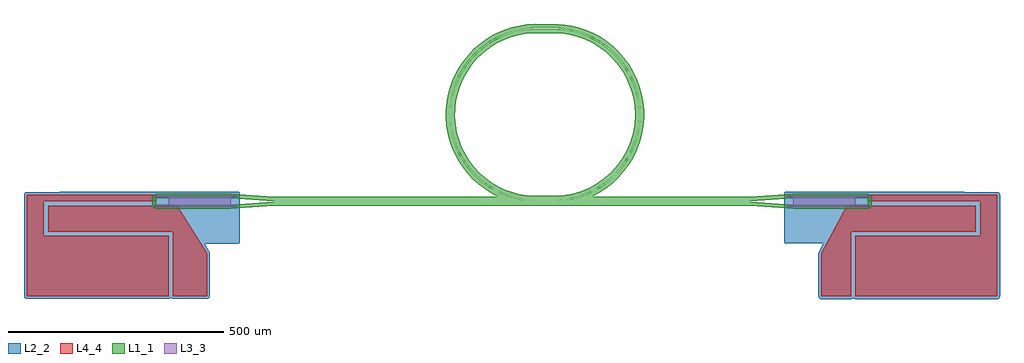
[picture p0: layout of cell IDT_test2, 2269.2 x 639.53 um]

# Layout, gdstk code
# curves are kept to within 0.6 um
import gdstk
lib = gdstk.Library(unit=1e-6, precision=1e-09)
def P(c, l, *ps):  # polygons
    for p in ps: c.add(gdstk.Polygon(p, *l))
L1_1 = (1, 1)
L2_2 = (2, 2)
L3_3 = (3, 3)
L4_4 = (4, 4)

idt_test2 = lib.new_cell('IDT_test2')
P(idt_test2, L1_1, [(-1552.58,-12.702),(-1557.944,-10.48),(-1561.169,-5.653),(-1561.552,13.23),(-1558.671,19.321),(-1555.427,21.489),(-1551.6,22.25),(-1378.8,22.25),(-1278.455,15.35),(-756.903,15.35),(-773.001,23.663),(-788.415,33.393),(-802.834,44.34),(-816.349,56.572),(-828.755,69.927),(-838.509,82.291),(-848.544,97.36),(-857.302,113.346),(-864.645,130.029),(-870.518,147.285),(-874.374,162.554),(-877.399,180.53),(-878.857,198.699),(-878.745,216.803),(-877.062,234.953),(-874.349,250.466),(-869.771,268.11),(-863.731,285.177),(-857.302,299.554),(-848.544,315.54),(-838.436,330.708),(-827.135,344.853),(-814.573,358.061),(-802.834,368.56),(-788.415,379.507),(-773.001,389.237),(-759.049,396.542),(-742.272,403.669),(-725,409.299),(-725,398.898),(-741.137,393.398),(-757.03,386.408),(-770.129,379.342),(-784.698,369.898),(-796.497,360.825),(-809.366,349.17),(-821.179,336.446),(-831.848,322.748),(-841.292,308.179),(-848.358,295.08),(-859.486,267.494),(-864.049,250.742),(-866.795,236.114),(-869,206.45),(-866.795,176.786),(-864.049,162.158),(-859.486,145.406),(-848.358,117.82),(-841.292,104.721),(-831.848,90.152),(-812.853,67.26),(-792.639,48.954),(-776.473,37.451),(-761.454,28.739),(-743.444,20.416),(-725,14.002),(-725,5.35),(-1278.8,5.35),(-1378.8,12.25),(-1551.6,12.25),(-1551.6,-2.75),(-1378.8,-2.75),(-1278.8,4.15),(-725,4.15),(-725,-5.85),(-1278.455,-5.85),(-1378.8,-12.75)],
  [(-707.309,413.424),(-689.266,416.014),(-671.067,417.033),(-618.047,416.795),(-602.48,415.449),(-571.739,409.285),(-554.412,403.625),(-537.639,396.489),(-521.547,387.929),(-506.254,378.009),(-489.997,365.185),(-476.789,352.623),(-464.64,338.869),(-453.803,324.213),(-443.082,306.498),(-435.125,290.098),(-428.577,272.955),(-423.012,253.01),(-419.755,235.076),(-418.061,216.927),(-417.947,198.576),(-419.738,177.947),(-423.012,159.89),(-427.807,142.304),(-435.076,122.915),(-443.023,106.511),(-452.427,90.752),(-464.64,74.031),(-476.789,60.277),(-491.877,46.095),(-506.254,34.891),(-521.653,24.908),(-539.897,15.35),(-171.545,15.35),(-71.2,22.25),(101.6,22.25),(105.427,21.489),(108.671,19.321),(110.839,16.077),(111.6,12.25),(111.6,-2.75),(110.839,-6.577),(107.156,-11.065),(101.6,-12.75),(-71.2,-12.75),(-171.545,-5.85),(-725,-5.85),(-725,4.15),(-171.2,4.15),(-71.2,-2.75),(101.6,-2.75),(101.6,12.25),(-71.2,12.25),(-171.2,5.35),(-725,5.35),(-725,14.002),(-702.962,8.85),(-678.32,6.095),(-623.438,5.911),(-596.284,8.438),(-576.88,12.579),(-557.981,18.616),(-539.77,26.492),(-520.327,37.451),(-500.303,52.075),(-483.947,67.26),(-467.879,86.145),(-454.263,106.867),(-443.308,129.111),(-435.862,150.151),(-430.8,171.888),(-428.045,196.53),(-428.183,218.848),(-431.242,243.454),(-437.314,267.494),(-446.304,290.602),(-458.077,312.424),(-472.452,332.627),(-489.21,350.903),(-506.118,365.471),(-528.817,380.587),(-551.061,391.542),(-574.487,399.669),(-598.736,404.845),(-623.438,406.989),(-678.32,406.805),(-702.962,404.05),(-725,398.898),(-725,409.299)],
  [(-668.4,7.05),(-688.098,8.025),(-707.603,10.942),(-726.725,15.771),(-747.546,23.43),(-765.239,32.144),(-784.002,43.98),(-799.487,56.195),(-813.689,69.879),(-826.469,84.9),(-837.704,101.11),(-847.282,118.35),(-855.11,136.452),(-861.112,155.239),(-865.608,176.963),(-867.556,196.589),(-867.556,216.311),(-865.608,235.937),(-861.73,255.274),(-855.961,274.134),(-848.358,292.331),(-838.994,309.688),(-827.961,326.036),(-813.689,343.021),(-799.487,356.705),(-784.002,368.92),(-765.239,380.756),(-747.546,389.47),(-729.079,396.393),(-710.018,401.458),(-690.551,404.616),(-673.332,405.789),(-648.419,405.85),(-648.419,395.783),(-675.426,395.719),(-694.089,394.1),(-710.219,391.175),(-728.263,386.141),(-745.721,379.348),(-762.423,370.864),(-778.205,360.772),(-792.913,349.17),(-806.402,336.171),(-818.542,321.904),(-829.213,306.507),(-838.311,290.132),(-845.746,272.938),(-851.447,255.093),(-855.357,236.773),(-857.279,220.493),(-857.742,201.765),(-856.353,183.084),(-853.125,164.631),(-848.091,146.587),(-841.298,129.129),(-832.814,112.427),(-824.068,98.562),(-812.649,83.712),(-799.818,70.063),(-787.532,59.21),(-772.404,48.161),(-756.259,38.661),(-741.421,31.692),(-723.8,25.334),(-707.931,21.222),(-691.766,18.497),(-677.767,17.282),(-648.419,17.159),(-648.419,7.05)],
  [(-648.4,7.05),(-648.419,17.159),(-626.057,17.065),(-605.034,18.497),(-584.299,22.256),(-564.111,28.295),(-544.718,36.539),(-526.361,46.887),(-509.268,59.21),(-493.648,73.355),(-479.697,89.148),(-467.587,106.393),(-457.467,124.876),(-449.464,144.369),(-443.675,164.631),(-440.172,185.41),(-439,206.45),(-440.172,227.49),(-443.675,248.269),(-448.709,266.313),(-456.471,285.904),(-466.362,304.511),(-476.841,320.038),(-490.398,336.171),(-505.662,350.699),(-520.512,362.118),(-538.473,373.139),(-555.379,381.208),(-573,387.566),(-591.163,392.153),(-609.69,394.923),(-648.419,395.783),(-648.419,405.85),(-608.702,404.875),(-589.197,401.958),(-570.075,397.129),(-551.524,390.435),(-533.724,381.94),(-516.852,371.729),(-501.07,359.902),(-486.534,346.572),(-473.385,331.873),(-461.754,315.946),(-451.752,298.948),(-443.479,281.045),(-437.014,262.412),(-432.422,243.232),(-429.975,226.148),(-429,206.45),(-429.975,186.752),(-432.422,169.668),(-437.014,150.488),(-443.479,131.855),(-451.752,113.952),(-461.754,96.954),(-473.385,81.027),(-486.534,66.328),(-501.07,52.998),(-516.852,41.171),(-533.724,30.96),(-551.524,22.465),(-570.075,15.771),(-589.197,10.942),(-606.249,8.284),(-623.468,7.111)])
P(idt_test2, L2_2, [(68.6,-219.815),(66.428,-221.792),(63.6,-222.5),(-6.4,-222.5),(-9.228,-221.792),(-11.389,-219.833),(-12.4,-216.5),(-12.371,-115.906),(-1.329,-94.5),(-86.4,-94.5),(-89.228,-93.792),(-91.389,-91.833),(-92.4,-88.5),(-92.4,21.5),(-91.692,24.328),(-89.733,26.489),(-86.4,27.5),(323.6,27.5),(328.063,25.5),(404.188,25.471),(408.589,22.833),(409.6,19.5),(409.6,-216.5),(408.892,-219.328),(406.933,-221.489),(403.6,-222.5),(73.6,-222.5),(70.772,-221.792)],
  [(-1778.063,25.5),(-1773.6,27.5),(-1361.858,27.242),(-1358.611,24.833),(-1357.6,21.5),(-1357.858,-90.242),(-1359.794,-93.138),(-1363.012,-94.471),(-1439.852,-94.5),(-1427.627,-114.934),(-1427.6,-215.5),(-1428.611,-218.833),(-1431.858,-221.242),(-1513.6,-221.5),(-1516.428,-220.792),(-1518.6,-218.815),(-1520.772,-220.792),(-1523.6,-221.5),(-1855.342,-221.242),(-1858.589,-218.833),(-1859.6,-215.5),(-1859.342,21.242),(-1857.406,24.138),(-1854.188,25.471)])
P(idt_test2, L3_3, [(-1498.6,-3),(-1498.6,11.75),(-1498.155,11.75),(-1498.155,-3),(-1496.8,-3),(-1496.8,11.75),(-1496.355,11.75),(-1496.355,-3),(-1495,-3),(-1495,11.75),(-1494.555,11.75),(-1494.555,-3),(-1493.2,-3),(-1493.2,11.75),(-1492.755,11.75),(-1492.755,-3),(-1491.4,-3),(-1491.4,11.75),(-1490.955,11.75),(-1490.955,-3),(-1489.6,-3),(-1489.6,11.75),(-1489.155,11.75),(-1489.155,-3),(-1487.8,-3),(-1487.8,11.75),(-1487.355,11.75),(-1487.355,-3),(-1486,-3),(-1486,11.75),(-1485.555,11.75),(-1485.555,-3),(-1484.2,-3),(-1484.2,11.75),(-1483.755,11.75),(-1483.755,-3),(-1482.4,-3),(-1482.4,11.75),(-1481.955,11.75),(-1481.955,-3),(-1480.6,-3),(-1480.6,11.75),(-1480.155,11.75),(-1480.155,-3),(-1478.8,-3),(-1478.8,11.75),(-1478.355,11.75),(-1478.355,-3),(-1477,-3),(-1477,11.75),(-1476.555,11.75),(-1476.555,-3),(-1475.2,-3),(-1475.2,11.75),(-1474.755,11.75),(-1474.755,-3),(-1473.4,-3),(-1473.4,11.75),(-1472.955,11.75),(-1472.955,-3),(-1471.6,-3),(-1471.6,11.75),(-1471.155,11.75),(-1471.155,-3),(-1469.8,-3),(-1469.8,11.75),(-1469.355,11.75),(-1469.355,-3),(-1468,-3),(-1468,11.75),(-1467.555,11.75),(-1467.555,-3),(-1466.2,-3),(-1466.2,11.75),(-1465.755,11.75),(-1465.755,-3),(-1464.4,-3),(-1464.4,11.75),(-1463.955,11.75),(-1463.955,-3),(-1462.6,-3),(-1462.6,11.75),(-1462.155,11.75),(-1462.155,-3),(-1460.8,-3),(-1460.8,11.75),(-1460.355,11.75),(-1460.355,-3),(-1459,-3),(-1459,11.75),(-1458.555,11.75),(-1458.555,-3),(-1457.2,-3),(-1457.2,11.75),(-1456.755,11.75),(-1456.755,-3),(-1455.4,-3),(-1455.4,11.75),(-1454.955,11.75),(-1454.955,-3),(-1453.6,-3),(-1453.6,11.75),(-1453.155,11.75),(-1453.155,-3),(-1451.8,-3),(-1451.8,11.75),(-1451.355,11.75),(-1451.355,-3),(-1450,-3),(-1450,11.75),(-1449.555,11.75),(-1449.555,-3),(-1448.2,-3),(-1448.2,11.75),(-1447.755,11.75),(-1447.755,-3),(-1446.4,-3),(-1446.4,11.75),(-1445.955,11.75),(-1445.955,-3),(-1444.6,-3),(-1444.6,11.75),(-1444.155,11.75),(-1444.155,-3),(-1442.8,-3),(-1442.8,11.75),(-1442.355,11.75),(-1442.355,-3),(-1441,-3),(-1441,11.75),(-1440.555,11.75),(-1440.555,-3),(-1439.2,-3),(-1439.2,11.75),(-1438.755,11.75),(-1438.755,-3),(-1437.4,-3),(-1437.4,11.75),(-1436.955,11.75),(-1436.955,-3),(-1435.6,-3),(-1435.6,11.75),(-1435.155,11.75),(-1435.155,-3),(-1433.8,-3),(-1433.8,11.75),(-1433.355,11.75),(-1433.355,-3),(-1432,-3),(-1432,11.75),(-1431.555,11.75),(-1431.555,-3),(-1430.2,-3),(-1430.2,11.75),(-1429.755,11.75),(-1429.755,-3),(-1428.4,-3),(-1428.4,11.75),(-1427.955,11.75),(-1427.955,-3),(-1426.6,-3),(-1426.6,11.75),(-1426.155,11.75),(-1426.155,-3),(-1424.8,-3),(-1424.8,11.75),(-1424.355,11.75),(-1424.355,-3),(-1423,-3),(-1423,11.75),(-1422.555,11.75),(-1422.555,-3),(-1421.2,-3),(-1421.2,11.75),(-1420.755,11.75),(-1420.755,-3),(-1419.4,-3),(-1419.4,11.75),(-1418.955,11.75),(-1418.955,-3),(-1417.6,-3),(-1417.6,11.75),(-1417.155,11.75),(-1417.155,-3),(-1415.8,-3),(-1415.8,11.75),(-1415.355,11.75),(-1415.355,-3),(-1414,-3),(-1414,11.75),(-1413.555,11.75),(-1413.555,-3),(-1412.2,-3),(-1412.2,11.75),(-1411.755,11.75),(-1411.755,-3),(-1410.4,-3),(-1410.4,11.75),(-1409.955,11.75),(-1409.955,-3),(-1408.6,-3),(-1408.6,11.75),(-1408.155,11.75),(-1408.155,-3),(-1406.8,-3),(-1406.8,11.75),(-1406.355,11.75),(-1406.355,-3),(-1405,-3),(-1405,11.75),(-1404.555,11.75),(-1404.555,-3),(-1403.2,-3),(-1403.2,11.75),(-1402.755,11.75),(-1402.755,-3),(-1401.4,-3),(-1401.4,11.75),(-1400.955,11.75),(-1400.955,-3),(-1399.6,-3),(-1399.6,11.75),(-1399.155,11.75),(-1399.155,-3),(-1397.8,-3),(-1397.8,11.75),(-1397.355,11.75),(-1397.355,-3),(-1396,-3),(-1396,11.75),(-1395.555,11.75),(-1395.555,-3),(-1394.2,-3),(-1394.2,11.75),(-1393.755,11.75),(-1393.755,-3),(-1392.4,-3),(-1392.4,11.75),(-1391.955,11.75),(-1391.955,-3),(-1390.6,-3),(-1390.6,11.75),(-1390.155,11.75),(-1390.155,-3),(-1388.8,-3),(-1388.8,11.75),(-1388.355,11.75),(-1388.355,-3),(-1387,-3),(-1387,11.75),(-1386.555,11.75),(-1386.555,-3),(-1385.2,-3),(-1385.2,11.75),(-1384.755,11.75),(-1384.755,-3),(-1383.4,-3),(-1383.4,11.75),(-1382.955,11.75),(-1382.955,-3),(-1381.6,-3),(-1381.6,11.75),(-1381.155,11.75),(-1381.155,-3),(-1379.8,-3),(-1379.8,11.75),(-1379.355,11.75),(-1379.355,-3),(-1363.6,-3),(-1363.6,-8),(-1555.6,-8),(-1555.6,-3),(-1522,-3),(-1522,11.75),(-1521.555,11.75),(-1521.555,-3),(-1520.2,-3),(-1520.2,11.75),(-1519.755,11.75),(-1519.755,-3),(-1518.4,-3),(-1518.4,11.75),(-1517.955,11.75),(-1517.955,-3),(-1516.6,-3),(-1516.6,11.75),(-1516.155,11.75),(-1516.155,-3),(-1514.8,-3),(-1514.8,11.75),(-1514.355,11.75),(-1514.355,-3),(-1513,-3),(-1513,11.75),(-1512.555,11.75),(-1512.555,-3),(-1511.2,-3),(-1511.2,11.75),(-1510.755,11.75),(-1510.755,-3),(-1509.4,-3),(-1509.4,11.75),(-1508.955,11.75),(-1508.955,-3),(-1507.6,-3),(-1507.6,11.75),(-1507.155,11.75),(-1507.155,-3),(-1505.8,-3),(-1505.8,11.75),(-1505.355,11.75),(-1505.355,-3),(-1504,-3),(-1504,11.75),(-1503.555,11.75),(-1503.555,-3),(-1502.2,-3),(-1502.2,11.75),(-1501.755,11.75),(-1501.755,-3),(-1500.4,-3),(-1500.4,11.75),(-1499.955,11.75),(-1499.955,-3),(-1498.6,-3)],
  [(-68.845,11.75),(-68.4,11.75),(-68.4,-3),(-67.045,-3),(-67.045,11.75),(-66.6,11.75),(-66.6,-3),(-65.245,-3),(-65.245,11.75),(-64.8,11.75),(-64.8,-3),(-63.445,-3),(-63.445,11.75),(-63,11.75),(-63,-3),(-61.645,-3),(-61.645,11.75),(-61.2,11.75),(-61.2,-3),(-59.845,-3),(-59.845,11.75),(-59.4,11.75),(-59.4,-3),(-58.045,-3),(-58.045,11.75),(-57.6,11.75),(-57.6,-3),(-56.245,-3),(-56.245,11.75),(-55.8,11.75),(-55.8,-3),(-54.445,-3),(-54.445,11.75),(-54,11.75),(-54,-3),(-52.645,-3),(-52.645,11.75),(-52.2,11.75),(-52.2,-3),(-50.845,-3),(-50.845,11.75),(-50.4,11.75),(-50.4,-3),(-49.045,-3),(-49.045,11.75),(-48.6,11.75),(-48.6,-3),(-47.245,-3),(-47.245,11.75),(-46.8,11.75),(-46.8,-3),(-45.445,-3),(-45.445,11.75),(-45,11.75),(-45,-3),(-43.645,-3),(-43.645,11.75),(-43.2,11.75),(-43.2,-3),(-41.845,-3),(-41.845,11.75),(-41.4,11.75),(-41.4,-3),(-40.045,-3),(-40.045,11.75),(-39.6,11.75),(-39.6,-3),(-38.245,-3),(-38.245,11.75),(-37.8,11.75),(-37.8,-3),(-36.445,-3),(-36.445,11.75),(-36,11.75),(-36,-3),(-34.645,-3),(-34.645,11.75),(-34.2,11.75),(-34.2,-3),(-32.845,-3),(-32.845,11.75),(-32.4,11.75),(-32.4,-3),(-31.045,-3),(-31.045,11.75),(-30.6,11.75),(-30.6,-3),(-29.245,-3),(-29.245,11.75),(-28.8,11.75),(-28.8,-3),(-27.445,-3),(-27.445,11.75),(-27,11.75),(-27,-3),(-25.645,-3),(-25.645,11.75),(-25.2,11.75),(-25.2,-3),(-23.845,-3),(-23.845,11.75),(-23.4,11.75),(-23.4,-3),(-22.045,-3),(-22.045,11.75),(-21.6,11.75),(-21.6,-3),(-20.245,-3),(-20.245,11.75),(-19.8,11.75),(-19.8,-3),(-18.445,-3),(-18.445,11.75),(-18,11.75),(-18,-3),(-16.645,-3),(-16.645,11.75),(-16.2,11.75),(-16.2,-3),(-14.845,-3),(-14.845,11.75),(-14.4,11.75),(-14.4,-3),(-13.045,-3),(-13.045,11.75),(-12.6,11.75),(-12.6,-3),(-11.245,-3),(-11.245,11.75),(-10.8,11.75),(-10.8,-3),(-9.445,-3),(-9.445,11.75),(-9,11.75),(-9,-3),(-7.645,-3),(-7.645,11.75),(-7.2,11.75),(-7.2,-3),(-5.845,-3),(-5.845,11.75),(-5.4,11.75),(-5.4,-3),(-4.045,-3),(-4.045,11.75),(-3.6,11.75),(-3.6,-3),(-2.245,-3),(-2.245,11.75),(-1.8,11.75),(-1.8,-3),(-0.445,-3),(-0.445,11.75),(0,11.75),(0,-3),(1.355,-3),(1.355,11.75),(1.8,11.75),(1.8,-3),(3.155,-3),(3.155,11.75),(3.6,11.75),(3.6,-3),(4.955,-3),(4.955,11.75),(5.4,11.75),(5.4,-3),(6.755,-3),(6.755,11.75),(7.2,11.75),(7.2,-3),(8.555,-3),(8.555,11.75),(9,11.75),(9,-3),(10.355,-3),(10.355,11.75),(10.8,11.75),(10.8,-3),(12.155,-3),(12.155,11.75),(12.6,11.75),(12.6,-3),(13.955,-3),(13.955,11.75),(14.4,11.75),(14.4,-3),(15.755,-3),(15.755,11.75),(16.2,11.75),(16.2,-3),(17.555,-3),(17.555,11.75),(18,11.75),(18,-3),(19.355,-3),(19.355,11.75),(19.8,11.75),(19.8,-3),(21.155,-3),(21.155,11.75),(21.6,11.75),(21.6,-3),(22.955,-3),(22.955,11.75),(23.4,11.75),(23.4,-3),(24.755,-3),(24.755,11.75),(25.2,11.75),(25.2,-3),(26.555,-3),(26.555,11.75),(27,11.75),(27,-3),(28.355,-3),(28.355,11.75),(28.8,11.75),(28.8,-3),(30.155,-3),(30.155,11.75),(30.6,11.75),(30.6,-3),(31.955,-3),(31.955,11.75),(32.4,11.75),(32.4,-3),(33.755,-3),(33.755,11.75),(34.2,11.75),(34.2,-3),(35.555,-3),(35.555,11.75),(36,11.75),(36,-3),(37.355,-3),(37.355,11.75),(37.8,11.75),(37.8,-3),(39.155,-3),(39.155,11.75),(39.6,11.75),(39.6,-3),(40.955,-3),(40.955,11.75),(41.4,11.75),(41.4,-3),(42.755,-3),(42.755,11.75),(43.2,11.75),(43.2,-3),(44.555,-3),(44.555,11.75),(45,11.75),(45,-3),(46.355,-3),(46.355,11.75),(46.8,11.75),(46.8,-3),(48.155,-3),(48.155,11.75),(48.6,11.75),(48.6,-3),(49.955,-3),(49.955,11.75),(50.4,11.75),(50.4,-3),(51.755,-3),(51.755,11.75),(52.2,11.75),(52.2,-3),(53.555,-3),(53.555,11.75),(54,11.75),(54,-3),(55.355,-3),(55.355,11.75),(55.8,11.75),(55.8,-3),(57.155,-3),(57.155,11.75),(57.6,11.75),(57.6,-3),(58.955,-3),(58.955,11.75),(59.4,11.75),(59.4,-3),(60.755,-3),(60.755,11.75),(61.2,11.75),(61.2,-3),(62.555,-3),(62.555,11.75),(63,11.75),(63,-3),(64.355,-3),(64.355,11.75),(64.8,11.75),(64.8,-3),(66.155,-3),(66.155,11.75),(66.6,11.75),(66.6,-3),(67.955,-3),(67.955,11.75),(68.4,11.75),(68.4,-3),(69.755,-3),(69.755,11.75),(70.2,11.75),(70.2,-3),(71.555,-3),(71.555,11.75),(72,11.75),(72,-3),(105.6,-3),(105.6,-8),(-86.4,-8),(-86.4,-3),(-70.645,-3),(-70.645,11.75),(-70.2,11.75),(-70.2,-3),(-68.845,-3),(-68.845,11.75)],
  [(-1495.455,-2.25),(-1495.9,-2.25),(-1495.9,12.5),(-1497.255,12.5),(-1497.255,-2.25),(-1497.7,-2.25),(-1497.7,12.5),(-1499.055,12.5),(-1499.055,-2.25),(-1499.5,-2.25),(-1499.5,12.5),(-1500.855,12.5),(-1500.855,-2.25),(-1501.3,-2.25),(-1501.3,12.5),(-1502.655,12.5),(-1502.655,-2.25),(-1503.1,-2.25),(-1503.1,12.5),(-1504.455,12.5),(-1504.455,-2.25),(-1504.9,-2.25),(-1504.9,12.5),(-1506.255,12.5),(-1506.255,-2.25),(-1506.7,-2.25),(-1506.7,12.5),(-1508.055,12.5),(-1508.055,-2.25),(-1508.5,-2.25),(-1508.5,12.5),(-1509.855,12.5),(-1509.855,-2.25),(-1510.3,-2.25),(-1510.3,12.5),(-1511.655,12.5),(-1511.655,-2.25),(-1512.1,-2.25),(-1512.1,12.5),(-1513.455,12.5),(-1513.455,-2.25),(-1513.9,-2.25),(-1513.9,12.5),(-1515.255,12.5),(-1515.255,-2.25),(-1515.7,-2.25),(-1515.7,12.5),(-1517.055,12.5),(-1517.055,-2.25),(-1517.5,-2.25),(-1517.5,12.5),(-1518.855,12.5),(-1518.855,-2.25),(-1519.3,-2.25),(-1519.3,12.5),(-1520.655,12.5),(-1520.655,-2.25),(-1521.1,-2.25),(-1521.1,12.5),(-1522.455,12.5),(-1522.455,-2.25),(-1522.9,-2.25),(-1522.9,12.5),(-1555.6,12.5),(-1555.6,17.5),(-1363.6,17.5),(-1363.6,12.5),(-1380.255,12.5),(-1380.255,-2.25),(-1380.7,-2.25),(-1380.7,12.5),(-1382.055,12.5),(-1382.055,-2.25),(-1382.5,-2.25),(-1382.5,12.5),(-1383.855,12.5),(-1383.855,-2.25),(-1384.3,-2.25),(-1384.3,12.5),(-1385.655,12.5),(-1385.655,-2.25),(-1386.1,-2.25),(-1386.1,12.5),(-1387.455,12.5),(-1387.455,-2.25),(-1387.9,-2.25),(-1387.9,12.5),(-1389.255,12.5),(-1389.255,-2.25),(-1389.7,-2.25),(-1389.7,12.5),(-1391.055,12.5),(-1391.055,-2.25),(-1391.5,-2.25),(-1391.5,12.5),(-1392.855,12.5),(-1392.855,-2.25),(-1393.3,-2.25),(-1393.3,12.5),(-1394.655,12.5),(-1394.655,-2.25),(-1395.1,-2.25),(-1395.1,12.5),(-1396.455,12.5),(-1396.455,-2.25),(-1396.9,-2.25),(-1396.9,12.5),(-1398.255,12.5),(-1398.255,-2.25),(-1398.7,-2.25),(-1398.7,12.5),(-1400.055,12.5),(-1400.055,-2.25),(-1400.5,-2.25),(-1400.5,12.5),(-1401.855,12.5),(-1401.855,-2.25),(-1402.3,-2.25),(-1402.3,12.5),(-1403.655,12.5),(-1403.655,-2.25),(-1404.1,-2.25),(-1404.1,12.5),(-1405.455,12.5),(-1405.455,-2.25),(-1405.9,-2.25),(-1405.9,12.5),(-1407.255,12.5),(-1407.255,-2.25),(-1407.7,-2.25),(-1407.7,12.5),(-1409.055,12.5),(-1409.055,-2.25),(-1409.5,-2.25),(-1409.5,12.5),(-1410.855,12.5),(-1410.855,-2.25),(-1411.3,-2.25),(-1411.3,12.5),(-1412.655,12.5),(-1412.655,-2.25),(-1413.1,-2.25),(-1413.1,12.5),(-1414.455,12.5),(-1414.455,-2.25),(-1414.9,-2.25),(-1414.9,12.5),(-1416.255,12.5),(-1416.255,-2.25),(-1416.7,-2.25),(-1416.7,12.5),(-1418.055,12.5),(-1418.055,-2.25),(-1418.5,-2.25),(-1418.5,12.5),(-1419.855,12.5),(-1419.855,-2.25),(-1420.3,-2.25),(-1420.3,12.5),(-1421.655,12.5),(-1421.655,-2.25),(-1422.1,-2.25),(-1422.1,12.5),(-1423.455,12.5),(-1423.455,-2.25),(-1423.9,-2.25),(-1423.9,12.5),(-1425.255,12.5),(-1425.255,-2.25),(-1425.7,-2.25),(-1425.7,12.5),(-1427.055,12.5),(-1427.055,-2.25),(-1427.5,-2.25),(-1427.5,12.5),(-1428.855,12.5),(-1428.855,-2.25),(-1429.3,-2.25),(-1429.3,12.5),(-1430.655,12.5),(-1430.655,-2.25),(-1431.1,-2.25),(-1431.1,12.5),(-1432.455,12.5),(-1432.455,-2.25),(-1432.9,-2.25),(-1432.9,12.5),(-1434.255,12.5),(-1434.255,-2.25),(-1434.7,-2.25),(-1434.7,12.5),(-1436.055,12.5),(-1436.055,-2.25),(-1436.5,-2.25),(-1436.5,12.5),(-1437.855,12.5),(-1437.855,-2.25),(-1438.3,-2.25),(-1438.3,12.5),(-1439.655,12.5),(-1439.655,-2.25),(-1440.1,-2.25),(-1440.1,12.5),(-1441.455,12.5),(-1441.455,-2.25),(-1441.9,-2.25),(-1441.9,12.5),(-1443.255,12.5),(-1443.255,-2.25),(-1443.7,-2.25),(-1443.7,12.5),(-1445.055,12.5),(-1445.055,-2.25),(-1445.5,-2.25),(-1445.5,12.5),(-1446.855,12.5),(-1446.855,-2.25),(-1447.3,-2.25),(-1447.3,12.5),(-1448.655,12.5),(-1448.655,-2.25),(-1449.1,-2.25),(-1449.1,12.5),(-1450.455,12.5),(-1450.455,-2.25),(-1450.9,-2.25),(-1450.9,12.5),(-1452.255,12.5),(-1452.255,-2.25),(-1452.7,-2.25),(-1452.7,12.5),(-1454.055,12.5),(-1454.055,-2.25),(-1454.5,-2.25),(-1454.5,12.5),(-1455.855,12.5),(-1455.855,-2.25),(-1456.3,-2.25),(-1456.3,12.5),(-1457.655,12.5),(-1457.655,-2.25),(-1458.1,-2.25),(-1458.1,12.5),(-1459.455,12.5),(-1459.455,-2.25),(-1459.9,-2.25),(-1459.9,12.5),(-1461.255,12.5),(-1461.255,-2.25),(-1461.7,-2.25),(-1461.7,12.5),(-1463.055,12.5),(-1463.055,-2.25),(-1463.5,-2.25),(-1463.5,12.5),(-1464.855,12.5),(-1464.855,-2.25),(-1465.3,-2.25),(-1465.3,12.5),(-1466.655,12.5),(-1466.655,-2.25),(-1467.1,-2.25),(-1467.1,12.5),(-1468.455,12.5),(-1468.455,-2.25),(-1468.9,-2.25),(-1468.9,12.5),(-1470.255,12.5),(-1470.255,-2.25),(-1470.7,-2.25),(-1470.7,12.5),(-1472.055,12.5),(-1472.055,-2.25),(-1472.5,-2.25),(-1472.5,12.5),(-1473.855,12.5),(-1473.855,-2.25),(-1474.3,-2.25),(-1474.3,12.5),(-1475.655,12.5),(-1475.655,-2.25),(-1476.1,-2.25),(-1476.1,12.5),(-1477.455,12.5),(-1477.455,-2.25),(-1477.9,-2.25),(-1477.9,12.5),(-1479.255,12.5),(-1479.255,-2.25),(-1479.7,-2.25),(-1479.7,12.5),(-1481.055,12.5),(-1481.055,-2.25),(-1481.5,-2.25),(-1481.5,12.5),(-1482.855,12.5),(-1482.855,-2.25),(-1483.3,-2.25),(-1483.3,12.5),(-1484.655,12.5),(-1484.655,-2.25),(-1485.1,-2.25),(-1485.1,12.5),(-1486.455,12.5),(-1486.455,-2.25),(-1486.9,-2.25),(-1486.9,12.5),(-1488.255,12.5),(-1488.255,-2.25),(-1488.7,-2.25),(-1488.7,12.5),(-1490.055,12.5),(-1490.055,-2.25),(-1490.5,-2.25),(-1490.5,12.5),(-1491.855,12.5),(-1491.855,-2.25),(-1492.3,-2.25),(-1492.3,12.5),(-1493.655,12.5),(-1493.655,-2.25),(-1494.1,-2.25),(-1494.1,12.5),(-1495.455,12.5),(-1495.455,-2.25)],
  [(-56.7,12.5),(-56.7,-2.25),(-57.145,-2.25),(-57.145,12.5),(-58.5,12.5),(-58.5,-2.25),(-58.945,-2.25),(-58.945,12.5),(-60.3,12.5),(-60.3,-2.25),(-60.745,-2.25),(-60.745,12.5),(-62.1,12.5),(-62.1,-2.25),(-62.545,-2.25),(-62.545,12.5),(-63.9,12.5),(-63.9,-2.25),(-64.345,-2.25),(-64.345,12.5),(-65.7,12.5),(-65.7,-2.25),(-66.145,-2.25),(-66.145,12.5),(-67.5,12.5),(-67.5,-2.25),(-67.945,-2.25),(-67.945,12.5),(-69.3,12.5),(-69.3,-2.25),(-69.745,-2.25),(-69.745,12.5),(-86.4,12.5),(-86.4,17.5),(105.6,17.5),(105.6,12.5),(72.9,12.5),(72.9,-2.25),(72.455,-2.25),(72.455,12.5),(71.1,12.5),(71.1,-2.25),(70.655,-2.25),(70.655,12.5),(69.3,12.5),(69.3,-2.25),(68.855,-2.25),(68.855,12.5),(67.5,12.5),(67.5,-2.25),(67.055,-2.25),(67.055,12.5),(65.7,12.5),(65.7,-2.25),(65.255,-2.25),(65.255,12.5),(63.9,12.5),(63.9,-2.25),(63.455,-2.25),(63.455,12.5),(62.1,12.5),(62.1,-2.25),(61.655,-2.25),(61.655,12.5),(60.3,12.5),(60.3,-2.25),(59.855,-2.25),(59.855,12.5),(58.5,12.5),(58.5,-2.25),(58.055,-2.25),(58.055,12.5),(56.7,12.5),(56.7,-2.25),(56.255,-2.25),(56.255,12.5),(54.9,12.5),(54.9,-2.25),(54.455,-2.25),(54.455,12.5),(53.1,12.5),(53.1,-2.25),(52.655,-2.25),(52.655,12.5),(51.3,12.5),(51.3,-2.25),(50.855,-2.25),(50.855,12.5),(49.5,12.5),(49.5,-2.25),(49.055,-2.25),(49.055,12.5),(47.7,12.5),(47.7,-2.25),(47.255,-2.25),(47.255,12.5),(45.9,12.5),(45.9,-2.25),(45.455,-2.25),(45.455,12.5),(44.1,12.5),(44.1,-2.25),(43.655,-2.25),(43.655,12.5),(42.3,12.5),(42.3,-2.25),(41.855,-2.25),(41.855,12.5),(40.5,12.5),(40.5,-2.25),(40.055,-2.25),(40.055,12.5),(38.7,12.5),(38.7,-2.25),(38.255,-2.25),(38.255,12.5),(36.9,12.5),(36.9,-2.25),(36.455,-2.25),(36.455,12.5),(35.1,12.5),(35.1,-2.25),(34.655,-2.25),(34.655,12.5),(33.3,12.5),(33.3,-2.25),(32.855,-2.25),(32.855,12.5),(31.5,12.5),(31.5,-2.25),(31.055,-2.25),(31.055,12.5),(29.7,12.5),(29.7,-2.25),(29.255,-2.25),(29.255,12.5),(27.9,12.5),(27.9,-2.25),(27.455,-2.25),(27.455,12.5),(26.1,12.5),(26.1,-2.25),(25.655,-2.25),(25.655,12.5),(24.3,12.5),(24.3,-2.25),(23.855,-2.25),(23.855,12.5),(22.5,12.5),(22.5,-2.25),(22.055,-2.25),(22.055,12.5),(20.7,12.5),(20.7,-2.25),(20.255,-2.25),(20.255,12.5),(18.9,12.5),(18.9,-2.25),(18.455,-2.25),(18.455,12.5),(17.1,12.5),(17.1,-2.25),(16.655,-2.25),(16.655,12.5),(15.3,12.5),(15.3,-2.25),(14.855,-2.25),(14.855,12.5),(13.5,12.5),(13.5,-2.25),(13.055,-2.25),(13.055,12.5),(11.7,12.5),(11.7,-2.25),(11.255,-2.25),(11.255,12.5),(9.9,12.5),(9.9,-2.25),(9.455,-2.25),(9.455,12.5),(8.1,12.5),(8.1,-2.25),(7.655,-2.25),(7.655,12.5),(6.3,12.5),(6.3,-2.25),(5.855,-2.25),(5.855,12.5),(4.5,12.5),(4.5,-2.25),(4.055,-2.25),(4.055,12.5),(2.7,12.5),(2.7,-2.25),(2.255,-2.25),(2.255,12.5),(0.9,12.5),(0.9,-2.25),(0.455,-2.25),(0.455,12.5),(-0.9,12.5),(-0.9,-2.25),(-1.345,-2.25),(-1.345,12.5),(-2.7,12.5),(-2.7,-2.25),(-3.145,-2.25),(-3.145,12.5),(-4.5,12.5),(-4.5,-2.25),(-4.945,-2.25),(-4.945,12.5),(-6.3,12.5),(-6.3,-2.25),(-6.745,-2.25),(-6.745,12.5),(-8.1,12.5),(-8.1,-2.25),(-8.545,-2.25),(-8.545,12.5),(-9.9,12.5),(-9.9,-2.25),(-10.345,-2.25),(-10.345,12.5),(-11.7,12.5),(-11.7,-2.25),(-12.145,-2.25),(-12.145,12.5),(-13.5,12.5),(-13.5,-2.25),(-13.945,-2.25),(-13.945,12.5),(-15.3,12.5),(-15.3,-2.25),(-15.745,-2.25),(-15.745,12.5),(-17.1,12.5),(-17.1,-2.25),(-17.545,-2.25),(-17.545,12.5),(-18.9,12.5),(-18.9,-2.25),(-19.345,-2.25),(-19.345,12.5),(-20.7,12.5),(-20.7,-2.25),(-21.145,-2.25),(-21.145,12.5),(-22.5,12.5),(-22.5,-2.25),(-22.945,-2.25),(-22.945,12.5),(-24.3,12.5),(-24.3,-2.25),(-24.745,-2.25),(-24.745,12.5),(-26.1,12.5),(-26.1,-2.25),(-26.545,-2.25),(-26.545,12.5),(-27.9,12.5),(-27.9,-2.25),(-28.345,-2.25),(-28.345,12.5),(-29.7,12.5),(-29.7,-2.25),(-30.145,-2.25),(-30.145,12.5),(-31.5,12.5),(-31.5,-2.25),(-31.945,-2.25),(-31.945,12.5),(-33.3,12.5),(-33.3,-2.25),(-33.745,-2.25),(-33.745,12.5),(-35.1,12.5),(-35.1,-2.25),(-35.545,-2.25),(-35.545,12.5),(-36.9,12.5),(-36.9,-2.25),(-37.345,-2.25),(-37.345,12.5),(-38.7,12.5),(-38.7,-2.25),(-39.145,-2.25),(-39.145,12.5),(-40.5,12.5),(-40.5,-2.25),(-40.945,-2.25),(-40.945,12.5),(-42.3,12.5),(-42.3,-2.25),(-42.745,-2.25),(-42.745,12.5),(-44.1,12.5),(-44.1,-2.25),(-44.545,-2.25),(-44.545,12.5),(-45.9,12.5),(-45.9,-2.25),(-46.345,-2.25),(-46.345,12.5),(-47.7,12.5),(-47.7,-2.25),(-48.145,-2.25),(-48.145,12.5),(-49.5,12.5),(-49.5,-2.25),(-49.945,-2.25),(-49.945,12.5),(-51.3,12.5),(-51.3,-2.25),(-51.745,-2.25),(-51.745,12.5),(-53.1,12.5),(-53.1,-2.25),(-53.545,-2.25),(-53.545,12.5),(-54.9,12.5),(-54.9,-2.25),(-55.345,-2.25),(-55.345,12.5),(-56.7,12.5)])
P(idt_test2, L4_4, [(63.6,-65.5),(63.6,-216.5),(-6.4,-216.5),(-6.4,-116.5),(53.6,-5.5),(353.6,-5.5),(353.6,-65.5),(63.6,-65.5)],
  [(-1513.6,-215.5),(-1513.6,-65.5),(-1803.6,-65.5),(-1803.6,-5.5),(-1503.6,-5.5),(-1433.6,-115.5),(-1433.6,-215.5),(-1513.6,-215.5)],
  [(73.6,-216.5),(73.6,-75.5),(363.6,-75.5),(363.6,4.5),(101.6,4.5),(101.6,19.5),(403.6,19.5),(403.6,-216.5),(73.6,-216.5)],
  [(-1813.6,-75.5),(-1523.6,-75.5),(-1523.6,-215.5),(-1853.6,-215.5),(-1853.6,19.5),(-1551.6,19.5),(-1551.6,4.5),(-1813.6,4.5),(-1813.6,-75.5)])

lib.write_gds('IDT_test2.gds')
